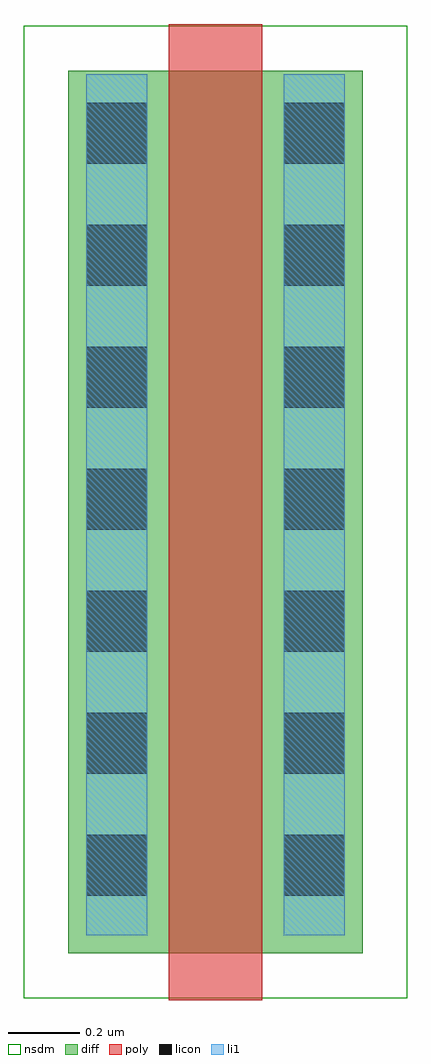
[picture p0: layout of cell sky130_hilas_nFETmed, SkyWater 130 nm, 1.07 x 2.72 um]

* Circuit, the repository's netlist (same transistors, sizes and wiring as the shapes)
* Copyright 2020 The Hilas PDK Authors
* 
* This file is part of HILAS.
* 
* HILAS is free software: you can redistribute it and/or modify
* it under the terms of the GNU Lesser General Public License as published by
* the Free Software Foundation, version 3 of the License.
* 
* HILAS is distributed in the hope that it will be useful,
* but WITHOUT ANY WARRANTY; without even the implied warranty of
* MERCHANTABILITY or FITNESS FOR A PARTICULAR PURPOSE.  See the
* GNU Lesser General Public License for more details.
* 
* You should have received a copy of the GNU Lesser General Public License
* along with HILAS.  If not, see <https://www.gnu.org/licenses/>.
* 
* Licensed under the Lesser General Public License, Version 3.0 (the "License");
* you may not use this file except in compliance with the License.
* You may obtain a copy of the License at
* 
* https://www.gnu.org/licenses/lgpl-3.0.en.html
* 
* Unless required by applicable law or agreed to in writing, software
* distributed under the License is distributed on an "AS IS" BASIS,
* WITHOUT WARRANTIES OR CONDITIONS OF ANY KIND, either express or implied.
* See the License for the specific language governing permissions and
* limitations under the License.
* 
* SPDX-License-Identifier: LGPL-3.0
* 
* 

* NGSPICE file created from sky130_hilas_nFETmed.ext - technology: sky130A


* Top level circuit sky130_hilas_nFETmed

X0 a_84_n62# a_32_n88# a_n24_n62# SUB sky130_fd_pr__nfet_01v8 w=2.46e+06u l=260000u
.end

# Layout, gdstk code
import gdstk
lib = gdstk.Library(unit=1e-6, precision=1e-09)
def R(c, l, rs):  # rectangles x0, y0, x1, y1
    for r in rs: c.add(gdstk.rectangle(r[:2], r[2:], *l))
def A(c, l, x, y, w, h, nx, ny, dx, dy):  # array of equal rectangles
    R(c, l, [(x+i*dx, y+j*dy, x+i*dx+w, y+j*dy+h) for i in range(nx) for j in range(ny)])
diff = (65, 20)
poly = (66, 20)
licon = (66, 44)
li1 = (67, 20)
nsdm = (93, 44)

sky130_hilas_nfetmed = lib.new_cell('sky130_hilas_nFETmed')
R(sky130_hilas_nfetmed, diff, [(0,0.13,0.82,2.59)])
R(sky130_hilas_nfetmed, poly, [(0.28,0,0.54,2.72)])
A(sky130_hilas_nfetmed, licon, 0.05, 0.29, 0.17, 0.17, 1, 7, 0, 0.34)
A(sky130_hilas_nfetmed, licon, 0.6, 0.29, 0.17, 0.17, 1, 7, 0, 0.34)
R(sky130_hilas_nfetmed, li1, [(0.05,0.18,0.22,2.58), (0.6,0.18,0.77,2.58)])
R(sky130_hilas_nfetmed, nsdm, [(-0.125,0.005,0.945,2.715)])

lib.write_gds('sky130_hilas_nFETmed.gds')
